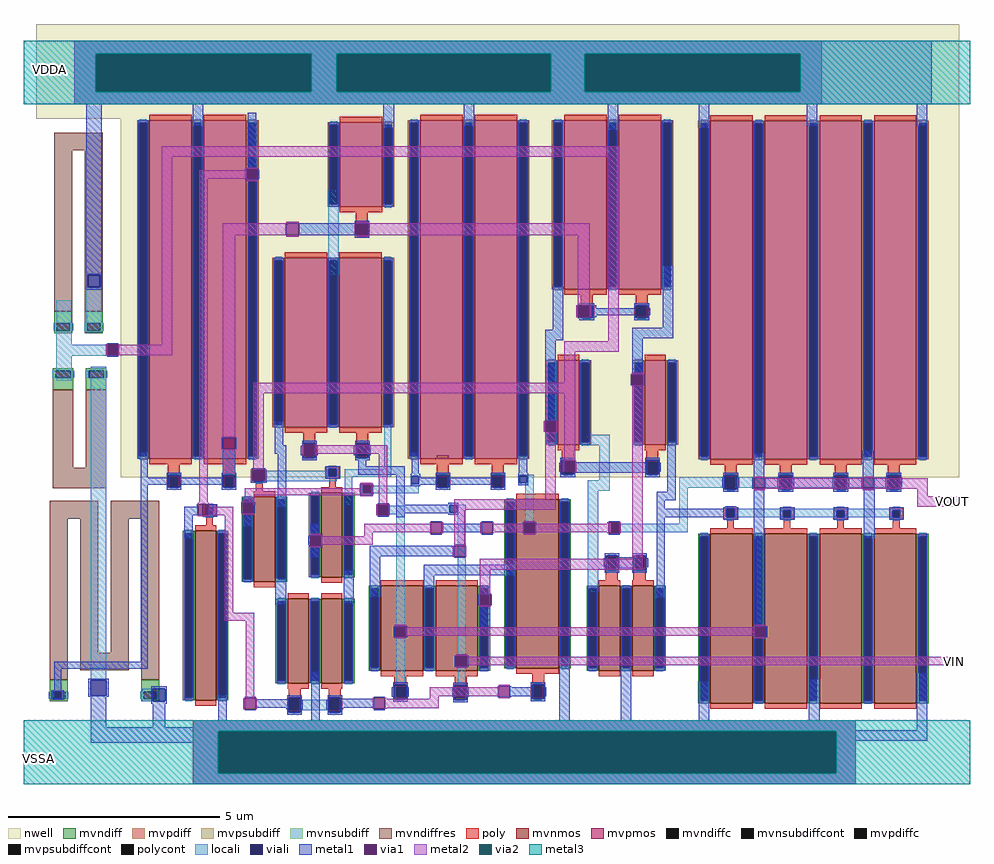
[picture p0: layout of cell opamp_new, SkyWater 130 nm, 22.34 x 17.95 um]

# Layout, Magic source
magic
tech sky130A
magscale 1 2
<< nwell >>
rect 331 1860 4690 2280
rect 331 1833 4130 1860
rect 730 1820 4130 1833
rect 730 1200 3431 1820
rect 730 320 3440 1200
rect 4440 320 4690 1860
rect 730 140 4690 320
<< mvpmos >>
rect 2470 226 2550 250
<< mvpsubdiff >>
rect 1070 -1060 4200 -1010
rect 1070 -1260 1190 -1060
rect 4110 -1260 4200 -1060
rect 1070 -1310 4200 -1260
<< mvnsubdiff >>
rect 510 2140 4040 2200
rect 510 1960 610 2140
rect 1630 1960 1750 2140
rect 2760 1960 2920 2140
rect 3940 1960 4040 2140
rect 510 1900 4040 1960
<< mvpsubdiffcont >>
rect 1190 -1260 4110 -1060
<< mvnsubdiffcont >>
rect 610 1960 1630 2140
rect 1750 1960 2760 2140
rect 2920 1960 3940 2140
<< poly >>
rect 1840 1339 1897 1413
rect 1834 1329 1903 1339
rect 1834 1292 1850 1329
rect 1887 1292 1903 1329
rect 1834 1282 1903 1292
rect 2902 949 2959 1000
rect 3162 949 3219 1000
rect 2896 939 2965 949
rect 2896 902 2912 939
rect 2949 902 2965 939
rect 2896 892 2965 902
rect 3156 939 3225 949
rect 3156 902 3172 939
rect 3209 902 3225 939
rect 3156 892 3225 902
rect 1592 299 1649 350
rect 1842 299 1899 350
rect 1586 289 1655 299
rect 1586 242 1602 289
rect 1639 242 1655 289
rect 1586 232 1655 242
rect 1836 289 1905 299
rect 1836 242 1852 289
rect 1889 242 1905 289
rect 1836 232 1905 242
rect 952 149 1009 200
rect 1212 149 1269 200
rect 1696 178 1762 188
rect 1350 158 1416 168
rect 946 139 1015 149
rect 946 102 962 139
rect 999 102 1015 139
rect 946 92 1015 102
rect 1206 139 1275 149
rect 1206 102 1222 139
rect 1259 102 1275 139
rect 1350 124 1366 158
rect 1400 124 1416 158
rect 1696 144 1712 178
rect 1746 144 1762 178
rect 2222 149 2279 242
rect 2470 200 2550 226
rect 2812 219 2869 270
rect 3212 219 3269 270
rect 2806 209 2875 219
rect 2482 149 2539 200
rect 2806 162 2822 209
rect 2859 162 2875 209
rect 2806 152 2875 162
rect 3206 209 3275 219
rect 3206 162 3222 209
rect 3259 162 3275 209
rect 3206 152 3275 162
rect 3582 149 3639 200
rect 3842 149 3899 200
rect 4102 149 4159 200
rect 4352 149 4409 200
rect 1696 134 1762 144
rect 2216 139 2285 149
rect 1350 114 1416 124
rect 1206 92 1275 102
rect 1367 72 1399 114
rect 1713 92 1745 134
rect 2216 102 2232 139
rect 2269 102 2285 139
rect 2216 92 2285 102
rect 2476 139 2545 149
rect 2476 102 2492 139
rect 2529 102 2545 139
rect 2476 92 2545 102
rect 3576 139 3645 149
rect 3576 92 3592 139
rect 3629 92 3645 139
rect 1694 87 1773 92
rect 3576 82 3645 92
rect 3836 139 3905 149
rect 3836 92 3852 139
rect 3889 92 3905 139
rect 3836 82 3905 92
rect 4096 139 4165 149
rect 4096 92 4112 139
rect 4149 92 4165 139
rect 4096 82 4165 92
rect 4346 139 4415 149
rect 4346 92 4362 139
rect 4399 92 4415 139
rect 4346 82 4415 92
rect 1115 -2 1181 8
rect 1115 -36 1131 -2
rect 1165 -36 1181 -2
rect 1115 -46 1181 -36
rect 3576 -16 3642 -6
rect 1132 -88 1164 -46
rect 3576 -50 3592 -16
rect 3626 -50 3642 -16
rect 3576 -60 3642 -50
rect 3843 -16 3909 -6
rect 3843 -50 3859 -16
rect 3893 -50 3909 -16
rect 3843 -60 3909 -50
rect 4096 -16 4162 -6
rect 4096 -50 4112 -16
rect 4146 -50 4162 -16
rect 4096 -60 4162 -50
rect 4359 -16 4425 -6
rect 4359 -50 4375 -16
rect 4409 -50 4425 -16
rect 4359 -60 4425 -50
rect 3593 -102 3625 -60
rect 3860 -102 3892 -60
rect 4113 -102 4145 -60
rect 4376 -102 4408 -60
rect 3015 -242 3084 -232
rect 3015 -289 3031 -242
rect 3068 -289 3084 -242
rect 3015 -299 3084 -289
rect 3145 -242 3214 -232
rect 3145 -289 3161 -242
rect 3198 -289 3214 -242
rect 3145 -299 3214 -289
rect 3021 -350 3078 -299
rect 3151 -350 3208 -299
rect 2022 -842 2079 -791
rect 2016 -852 2085 -842
rect 2306 -844 2363 -793
rect 2672 -841 2729 -790
rect 1522 -903 1579 -860
rect 1712 -903 1769 -860
rect 2016 -899 2032 -852
rect 2069 -899 2085 -852
rect 1516 -913 1585 -903
rect 1516 -960 1532 -913
rect 1569 -960 1585 -913
rect 1516 -970 1585 -960
rect 1706 -913 1775 -903
rect 2016 -909 2085 -899
rect 2300 -854 2369 -844
rect 2300 -901 2316 -854
rect 2353 -901 2369 -854
rect 2300 -911 2369 -901
rect 2666 -851 2735 -841
rect 2666 -898 2682 -851
rect 2719 -898 2735 -851
rect 2666 -908 2735 -898
rect 1706 -960 1722 -913
rect 1759 -960 1775 -913
rect 1706 -970 1775 -960
<< polycont >>
rect 1850 1292 1887 1329
rect 2912 902 2949 939
rect 3172 902 3209 939
rect 1602 242 1639 289
rect 1852 242 1889 289
rect 962 102 999 139
rect 1222 102 1259 139
rect 1366 124 1400 158
rect 1712 144 1746 178
rect 2822 162 2859 209
rect 3222 162 3259 209
rect 2232 102 2269 139
rect 2492 102 2529 139
rect 3592 92 3629 139
rect 3852 92 3889 139
rect 4112 92 4149 139
rect 4362 92 4399 139
rect 1131 -36 1165 -2
rect 3592 -50 3626 -16
rect 3859 -50 3893 -16
rect 4112 -50 4146 -16
rect 4375 -50 4409 -16
rect 3031 -289 3068 -242
rect 3161 -289 3198 -242
rect 2032 -899 2069 -852
rect 1532 -960 1569 -913
rect 2316 -901 2353 -854
rect 2682 -898 2719 -851
rect 1722 -960 1759 -913
<< locali >>
rect 510 2140 4040 2200
rect 510 1960 610 2140
rect 1630 1960 1750 2140
rect 2760 1960 2920 2140
rect 3940 1960 4040 2140
rect 510 1900 4040 1960
rect 567 1096 639 1102
rect 567 1036 573 1096
rect 633 1036 639 1096
rect 1710 1095 1760 1495
rect 1850 1339 1887 1345
rect 1850 1276 1887 1282
rect 424 764 497 975
rect 567 824 639 1036
rect 2912 949 2949 955
rect 3172 949 3209 955
rect 2912 886 2949 892
rect 3172 886 3209 892
rect 671 764 715 766
rect 424 761 715 764
rect 424 721 671 761
rect 709 721 715 761
rect 424 716 715 721
rect 424 714 711 716
rect 424 596 497 714
rect 588 -820 660 662
rect 1602 299 1639 305
rect 1852 299 1889 305
rect 1602 226 1639 232
rect 1852 226 1889 232
rect 1712 178 1746 194
rect 1366 170 1400 174
rect 962 149 999 155
rect 1222 149 1259 155
rect 1405 144 1712 170
rect 1974 176 2008 379
rect 2930 290 3040 340
rect 2822 219 2859 225
rect 1746 144 1750 170
rect 1405 120 1750 144
rect 1788 142 2008 176
rect 2232 149 2269 155
rect 2492 149 2529 155
rect 1366 108 1400 120
rect 962 86 999 92
rect 1222 86 1259 92
rect 1131 -2 1165 14
rect 1788 7 1822 142
rect 2104 98 2138 109
rect 1907 64 2138 98
rect 2610 147 2680 150
rect 2610 113 2613 147
rect 2647 113 2680 147
rect 2822 146 2859 152
rect 2990 125 3040 290
rect 3222 219 3259 225
rect 3222 146 3259 152
rect 3592 149 3629 155
rect 3852 149 3889 155
rect 4112 149 4149 155
rect 4362 149 4399 155
rect 2610 110 2680 113
rect 2232 86 2269 92
rect 2492 86 2529 92
rect 2280 7 2360 10
rect 1989 -35 2070 5
rect 2280 -27 2283 7
rect 2317 -27 2360 7
rect 2280 -30 2360 -27
rect 1131 -52 1165 -36
rect 448 -906 477 -872
rect 2030 -570 2070 -35
rect 2030 -842 2070 -610
rect 2320 -710 2360 -30
rect 2640 -80 2680 110
rect 2935 75 3040 125
rect 3367 90 3582 140
rect 2935 -245 2985 75
rect 3367 -80 3407 90
rect 3639 90 3842 140
rect 3899 90 4102 140
rect 4159 90 4352 140
rect 4409 90 4410 140
rect 3592 76 3629 82
rect 3852 76 3889 82
rect 4112 76 4149 82
rect 4362 76 4399 82
rect 3592 -10 3626 0
rect 3859 -10 3893 0
rect 4112 -10 4146 0
rect 4375 -10 4409 0
rect 3630 -16 4409 -10
rect 3630 -50 3859 -16
rect 3893 -50 4112 -16
rect 4146 -50 4375 -16
rect 3592 -66 3626 -50
rect 3859 -66 3893 -50
rect 4112 -66 4146 -50
rect 4375 -66 4409 -50
rect 3080 -120 3407 -80
rect 3031 -232 3068 -226
rect 3161 -232 3198 -226
rect 2935 -295 3021 -245
rect 2935 -405 2985 -295
rect 3031 -305 3068 -299
rect 3161 -305 3198 -299
rect 2320 -838 2360 -750
rect 2316 -844 2360 -838
rect 2682 -841 2719 -835
rect 830 -920 880 -860
rect 1532 -903 1569 -897
rect 1722 -903 1759 -897
rect 1579 -962 1712 -912
rect 2032 -915 2069 -909
rect 2316 -917 2353 -911
rect 2682 -914 2719 -908
rect 1532 -976 1569 -970
rect 1722 -976 1759 -970
rect 1070 -1060 4200 -1010
rect 1070 -1260 1190 -1060
rect 4110 -1260 4200 -1060
rect 1070 -1310 4200 -1260
<< viali >>
rect 610 1960 1630 2140
rect 1750 1960 2760 2140
rect 2920 1960 3940 2140
rect 573 1036 633 1096
rect 1840 1329 1897 1339
rect 1840 1292 1850 1329
rect 1850 1292 1887 1329
rect 1887 1292 1897 1329
rect 1840 1282 1897 1292
rect 2902 939 2959 949
rect 2902 902 2912 939
rect 2912 902 2949 939
rect 2949 902 2959 939
rect 2902 892 2959 902
rect 3162 939 3219 949
rect 3162 902 3172 939
rect 3172 902 3209 939
rect 3209 902 3219 939
rect 3162 892 3219 902
rect 671 721 709 761
rect 1592 289 1649 299
rect 1592 242 1602 289
rect 1602 242 1639 289
rect 1639 242 1649 289
rect 1592 232 1649 242
rect 1842 289 1899 299
rect 1842 242 1852 289
rect 1852 242 1889 289
rect 1889 242 1899 289
rect 1842 232 1899 242
rect 1355 158 1405 170
rect 952 139 1009 149
rect 952 102 962 139
rect 962 102 999 139
rect 999 102 1009 139
rect 952 92 1009 102
rect 1212 139 1269 149
rect 1212 102 1222 139
rect 1222 102 1259 139
rect 1259 102 1269 139
rect 1355 124 1366 158
rect 1366 124 1400 158
rect 1400 124 1405 158
rect 1712 144 1746 178
rect 1355 120 1405 124
rect 2812 209 2869 219
rect 2812 162 2822 209
rect 2822 162 2859 209
rect 2859 162 2869 209
rect 2812 152 2869 162
rect 1212 92 1269 102
rect 2104 109 2138 143
rect 1873 64 1907 98
rect 2222 139 2279 149
rect 2222 102 2232 139
rect 2232 102 2269 139
rect 2269 102 2279 139
rect 2222 92 2279 102
rect 2482 139 2539 149
rect 2482 102 2492 139
rect 2492 102 2529 139
rect 2529 102 2539 139
rect 2613 113 2647 147
rect 3212 209 3269 219
rect 3212 162 3222 209
rect 3222 162 3259 209
rect 3259 162 3269 209
rect 3212 152 3269 162
rect 2482 92 2539 102
rect 1131 -36 1165 -2
rect 1949 -35 1989 5
rect 2283 -27 2317 7
rect 414 -906 448 -872
rect 588 -892 660 -820
rect 2030 -610 2070 -570
rect 2640 -120 2680 -80
rect 3582 139 3639 149
rect 3582 92 3592 139
rect 3592 92 3629 139
rect 3629 92 3639 139
rect 3582 82 3639 92
rect 3842 139 3899 149
rect 3842 92 3852 139
rect 3852 92 3889 139
rect 3889 92 3899 139
rect 3842 82 3899 92
rect 4102 139 4159 149
rect 4102 92 4112 139
rect 4112 92 4149 139
rect 4149 92 4159 139
rect 4102 82 4159 92
rect 4352 139 4409 149
rect 4352 92 4362 139
rect 4362 92 4399 139
rect 4399 92 4409 139
rect 4352 82 4409 92
rect 3590 -16 3630 -10
rect 3590 -50 3592 -16
rect 3592 -50 3626 -16
rect 3626 -50 3630 -16
rect 3859 -50 3893 -16
rect 4112 -50 4146 -16
rect 4375 -50 4409 -16
rect 3046 -120 3080 -80
rect 3021 -242 3078 -232
rect 3021 -289 3031 -242
rect 3031 -289 3068 -242
rect 3068 -289 3078 -242
rect 3021 -299 3078 -289
rect 3151 -242 3208 -232
rect 3151 -289 3161 -242
rect 3161 -289 3198 -242
rect 3198 -289 3208 -242
rect 3151 -299 3208 -289
rect 2320 -750 2360 -710
rect 2022 -852 2079 -842
rect 880 -920 940 -860
rect 2022 -899 2032 -852
rect 2032 -899 2069 -852
rect 2069 -899 2079 -852
rect 1522 -913 1579 -903
rect 1522 -960 1532 -913
rect 1532 -960 1569 -913
rect 1569 -960 1579 -913
rect 1522 -970 1579 -960
rect 1712 -913 1769 -903
rect 2022 -909 2079 -899
rect 2306 -854 2363 -844
rect 2306 -901 2316 -854
rect 2316 -901 2353 -854
rect 2353 -901 2363 -854
rect 1712 -960 1722 -913
rect 1722 -960 1759 -913
rect 1759 -960 1769 -913
rect 2306 -911 2363 -901
rect 2672 -851 2729 -841
rect 2672 -898 2682 -851
rect 2682 -898 2719 -851
rect 2719 -898 2729 -851
rect 2672 -908 2729 -898
rect 1712 -970 1769 -960
rect 1190 -1260 4110 -1060
<< metal1 >>
rect 510 2140 4560 2200
rect 510 1960 610 2140
rect 1630 1960 1750 2140
rect 2760 1960 2920 2140
rect 3940 1960 4560 2140
rect 510 1900 4560 1960
rect 567 1096 639 1900
rect 1070 1800 1120 1900
rect 1330 1596 1370 1860
rect 1970 1790 2020 1900
rect 2350 1800 2400 1900
rect 3030 1780 3080 1900
rect 3460 1790 3510 1900
rect 3970 1800 4020 1900
rect 4490 1800 4540 1900
rect 1318 1544 1324 1596
rect 1376 1590 1382 1596
rect 1376 1550 1383 1590
rect 1376 1544 1382 1550
rect 1834 1339 1903 1351
rect 1506 1282 1512 1339
rect 1569 1282 1840 1339
rect 1900 1282 1906 1339
rect 1834 1270 1903 1282
rect 567 1036 573 1096
rect 633 1036 639 1096
rect 567 1024 639 1036
rect 2770 835 2820 1040
rect 2896 958 2965 961
rect 2888 952 2965 958
rect 2945 949 2976 952
rect 2959 937 2976 949
rect 3156 949 3225 961
rect 3156 937 3162 949
rect 2959 904 3162 937
rect 2959 895 2976 904
rect 2888 892 2902 895
rect 2959 892 2965 895
rect 2888 889 2965 892
rect 2896 880 2965 889
rect 3156 892 3162 904
rect 3219 937 3225 949
rect 3219 904 3230 937
rect 3219 892 3225 904
rect 3156 880 3225 892
rect 3290 845 3340 1135
rect 2735 785 2820 835
rect 3145 795 3340 845
rect 665 767 717 773
rect 659 715 665 767
rect 717 715 721 767
rect 665 709 717 715
rect 2735 412 2785 785
rect 3145 626 3195 795
rect 3138 574 3144 626
rect 3196 574 3202 626
rect 2734 406 2786 412
rect 1206 272 1212 329
rect 1269 272 1275 329
rect 1457 290 1497 400
rect 2734 348 2786 354
rect 1586 299 1655 311
rect 824 137 857 256
rect 1212 161 1269 272
rect 1457 250 1510 290
rect 1586 287 1592 299
rect 1349 176 1411 182
rect 946 149 1015 161
rect 946 137 952 149
rect 824 104 952 137
rect 824 -733 857 104
rect 946 92 952 104
rect 1009 137 1015 149
rect 1206 149 1275 161
rect 1206 137 1212 149
rect 1009 104 1212 137
rect 1009 92 1015 104
rect 946 80 1015 92
rect 1206 92 1212 104
rect 1269 92 1275 149
rect 1343 124 1349 176
rect 1411 171 1417 176
rect 1411 124 1420 171
rect 1343 120 1355 124
rect 1405 120 1420 124
rect 1343 114 1420 120
rect 1351 113 1420 114
rect 1360 112 1406 113
rect 1206 80 1275 92
rect 1088 0 1094 12
rect 1030 -40 1094 0
rect 1146 11 1152 12
rect 1146 -2 1185 11
rect 1165 -36 1185 -2
rect 1299 -31 1305 21
rect 1357 -31 1363 21
rect 1470 0 1510 250
rect 1580 244 1592 287
rect 1649 287 1655 299
rect 1836 299 1905 311
rect 1836 287 1842 299
rect 1649 244 1660 287
rect 1830 244 1842 287
rect 1586 232 1592 244
rect 1649 232 1655 244
rect 1586 220 1655 232
rect 1836 232 1842 244
rect 1899 287 1905 299
rect 1899 244 1910 287
rect 1899 232 1905 244
rect 1836 220 1905 232
rect 1697 178 1766 191
rect 1697 144 1712 178
rect 1746 144 1766 178
rect 1850 190 1890 220
rect 1850 150 2070 190
rect 2104 155 2137 256
rect 1697 133 1766 144
rect 1706 132 1752 133
rect 1867 107 1913 110
rect 1858 55 1864 107
rect 1916 55 1922 107
rect 1867 52 1913 55
rect 1943 11 1995 17
rect 1146 -40 1185 -36
rect 1030 -150 1070 -40
rect 1116 -47 1185 -40
rect 1125 -48 1171 -47
rect 1314 -92 1348 -31
rect 1937 -41 1943 11
rect 1995 -41 2001 11
rect 2030 10 2070 150
rect 2098 143 2144 155
rect 2098 109 2104 143
rect 2138 137 2144 143
rect 2216 149 2285 161
rect 2216 137 2222 149
rect 2138 109 2222 137
rect 2098 104 2222 109
rect 2098 97 2144 104
rect 2216 92 2222 104
rect 2279 137 2285 149
rect 2476 149 2545 161
rect 2610 159 2650 240
rect 2806 222 2875 231
rect 2806 219 2876 222
rect 2806 207 2812 219
rect 2869 216 2876 219
rect 2800 164 2812 207
rect 3206 219 3275 231
rect 3206 210 3212 219
rect 2876 164 3212 210
rect 2476 137 2482 149
rect 2279 104 2482 137
rect 2279 92 2285 104
rect 2216 80 2285 92
rect 2476 92 2482 104
rect 2539 92 2545 149
rect 2607 147 2653 159
rect 2607 113 2613 147
rect 2647 113 2653 147
rect 2806 152 2812 164
rect 2869 160 3212 164
rect 2869 158 2876 160
rect 2869 152 2875 158
rect 2806 140 2875 152
rect 3206 152 3212 160
rect 3269 207 3275 219
rect 3269 164 3280 207
rect 3269 152 3275 164
rect 3206 140 3275 152
rect 2607 101 2653 113
rect 2476 80 2545 92
rect 3310 70 3350 310
rect 3576 149 3645 161
rect 3576 137 3582 149
rect 3570 94 3582 137
rect 3576 82 3582 94
rect 3639 137 3645 149
rect 3639 94 3650 137
rect 3720 136 3770 250
rect 3836 149 3905 161
rect 3836 137 3842 149
rect 3639 82 3645 94
rect 3713 84 3719 136
rect 3771 84 3777 136
rect 3830 94 3842 137
rect 3576 70 3645 82
rect 3260 30 3350 70
rect 2277 10 2323 19
rect 2030 7 2323 10
rect 2030 -27 2283 7
rect 2317 -27 2323 7
rect 2030 -30 2323 -27
rect 1943 -47 1995 -41
rect 2030 -51 2070 -30
rect 2277 -39 2323 -30
rect 3260 -10 3300 30
rect 3584 -3 3636 2
rect 3577 -10 3646 -3
rect 3260 -50 3590 -10
rect 3630 -50 3646 -10
rect 2194 -74 2246 -68
rect 1630 -134 1670 -80
rect 2434 -74 2486 -68
rect 2634 -74 2686 -68
rect 3034 -74 3086 -68
rect 2246 -120 2434 -80
rect 2194 -132 2246 -126
rect 2628 -126 2634 -74
rect 2686 -126 2692 -74
rect 3086 -126 3092 -74
rect 2434 -132 2486 -126
rect 2634 -132 2686 -126
rect 3034 -132 3086 -126
rect 1618 -140 1624 -134
rect 1616 -180 1624 -140
rect 1618 -186 1624 -180
rect 1676 -186 1682 -134
rect 2304 -184 2356 -178
rect 1630 -240 1670 -186
rect 1905 -235 2304 -185
rect 1460 -460 1510 -340
rect 1782 -456 1830 -300
rect 1905 -425 1955 -235
rect 2304 -242 2356 -236
rect 3015 -232 3084 -220
rect 3015 -244 3021 -232
rect 2160 -325 2585 -275
rect 3010 -287 3021 -244
rect 3015 -299 3021 -287
rect 3078 -240 3084 -232
rect 3145 -232 3214 -220
rect 3145 -240 3151 -232
rect 3078 -290 3151 -240
rect 3078 -299 3084 -290
rect 3015 -311 3084 -299
rect 3145 -299 3151 -290
rect 3208 -244 3214 -232
rect 3208 -287 3220 -244
rect 3208 -299 3214 -287
rect 3145 -311 3214 -299
rect 2160 -380 2210 -325
rect 2418 -466 2424 -414
rect 2476 -466 2482 -414
rect 3260 -430 3300 -50
rect 3577 -61 3646 -50
rect 3584 -62 3636 -61
rect 3720 -150 3770 84
rect 3836 82 3842 94
rect 3899 137 3905 149
rect 4096 149 4165 161
rect 4096 137 4102 149
rect 3899 94 3910 137
rect 4090 94 4102 137
rect 3899 82 3905 94
rect 3836 70 3905 82
rect 4096 82 4102 94
rect 4159 137 4165 149
rect 4159 94 4170 137
rect 4235 136 4285 265
rect 4346 149 4415 161
rect 4346 137 4352 149
rect 4159 82 4165 94
rect 4228 84 4234 136
rect 4286 84 4292 136
rect 4340 94 4352 137
rect 4096 70 4165 82
rect 3844 -16 3913 -3
rect 3844 -50 3859 -16
rect 3893 -50 3913 -16
rect 3844 -61 3913 -50
rect 4097 -16 4166 -3
rect 4097 -50 4112 -16
rect 4146 -50 4166 -16
rect 4097 -61 4166 -50
rect 3853 -62 3899 -61
rect 4106 -62 4152 -61
rect 4240 -150 4290 84
rect 4346 82 4352 94
rect 4409 137 4415 149
rect 4409 94 4420 137
rect 4409 82 4415 94
rect 4346 70 4415 82
rect 4360 -16 4429 -3
rect 4360 -50 4375 -16
rect 4409 -50 4429 -16
rect 4360 -61 4429 -50
rect 4369 -62 4415 -61
rect 2024 -564 2076 -558
rect 2018 -616 2024 -564
rect 2076 -616 2082 -564
rect 2425 -575 2475 -466
rect 3730 -564 3770 -150
rect 3718 -616 3724 -564
rect 3776 -616 3782 -564
rect 2024 -622 2076 -616
rect 2314 -704 2366 -698
rect 414 -766 857 -733
rect 2308 -756 2314 -704
rect 2366 -756 2372 -704
rect 2314 -762 2366 -756
rect 414 -866 447 -766
rect 576 -820 672 -814
rect 402 -872 460 -866
rect 402 -906 414 -872
rect 448 -906 460 -872
rect 576 -892 588 -820
rect 660 -892 672 -820
rect 576 -898 672 -892
rect 874 -860 946 -848
rect 402 -912 460 -906
rect 588 -1043 660 -898
rect 874 -920 880 -860
rect 940 -920 946 -860
rect 874 -932 946 -920
rect 880 -1043 940 -932
rect 1190 -1010 1230 -890
rect 1314 -904 1366 -898
rect 1516 -903 1585 -891
rect 1516 -910 1522 -903
rect 1366 -950 1522 -910
rect 1314 -962 1366 -956
rect 1510 -958 1522 -950
rect 1516 -970 1522 -958
rect 1579 -915 1585 -903
rect 1579 -958 1590 -915
rect 1579 -970 1585 -958
rect 1516 -982 1585 -970
rect 1630 -1010 1670 -780
rect 2016 -842 2085 -830
rect 2016 -854 2022 -842
rect 1706 -903 1775 -891
rect 2010 -897 2022 -854
rect 1706 -915 1712 -903
rect 1700 -958 1712 -915
rect 1706 -970 1712 -958
rect 1769 -907 1775 -903
rect 1925 -903 1977 -897
rect 1769 -950 1925 -907
rect 1769 -958 1780 -950
rect 2016 -909 2022 -897
rect 2079 -854 2085 -842
rect 2300 -844 2369 -832
rect 2079 -897 2090 -854
rect 2300 -856 2306 -844
rect 2079 -909 2085 -897
rect 2294 -899 2306 -856
rect 2016 -921 2085 -909
rect 2300 -911 2306 -899
rect 2363 -856 2369 -844
rect 2666 -841 2735 -829
rect 2363 -899 2374 -856
rect 2363 -911 2369 -899
rect 2509 -900 2515 -848
rect 2567 -853 2573 -848
rect 2666 -853 2672 -841
rect 2567 -896 2672 -853
rect 2567 -900 2573 -896
rect 2300 -923 2369 -911
rect 2666 -908 2672 -896
rect 2729 -853 2735 -841
rect 2729 -896 2740 -853
rect 2729 -908 2735 -896
rect 2666 -920 2735 -908
rect 1769 -970 1775 -958
rect 1925 -961 1977 -955
rect 1706 -982 1775 -970
rect 2800 -1010 2850 -715
rect 3090 -1010 3140 -760
rect 3460 -1010 3510 -826
rect 3980 -1010 4030 -816
rect 1070 -1043 4200 -1010
rect 588 -1055 4200 -1043
rect 4490 -1055 4540 -786
rect 588 -1060 4540 -1055
rect 588 -1115 1190 -1060
rect 1070 -1260 1190 -1115
rect 4110 -1105 4540 -1060
rect 4110 -1260 4200 -1105
rect 1070 -1310 4200 -1260
<< via1 >>
rect 610 1960 1630 2140
rect 1750 1960 2760 2140
rect 2920 1960 3940 2140
rect 1324 1544 1376 1596
rect 1512 1282 1569 1339
rect 1843 1282 1897 1339
rect 1897 1282 1900 1339
rect 2888 949 2945 952
rect 2888 895 2902 949
rect 2902 895 2945 949
rect 665 761 717 767
rect 665 721 671 761
rect 671 721 709 761
rect 709 721 717 761
rect 665 715 717 721
rect 3144 574 3196 626
rect 1212 272 1269 329
rect 2734 354 2786 406
rect 1349 170 1411 176
rect 1349 124 1355 170
rect 1355 124 1405 170
rect 1405 124 1411 170
rect 1094 -2 1146 12
rect 1094 -36 1131 -2
rect 1131 -36 1146 -2
rect 1305 -31 1357 21
rect 1594 244 1646 296
rect 1864 98 1916 107
rect 1864 64 1873 98
rect 1873 64 1907 98
rect 1907 64 1916 98
rect 1864 55 1916 64
rect 1094 -40 1146 -36
rect 1943 5 1995 11
rect 1943 -35 1949 5
rect 1949 -35 1989 5
rect 1989 -35 1995 5
rect 1943 -41 1995 -35
rect 2824 164 2869 216
rect 2869 164 2876 216
rect 3719 84 3771 136
rect 2194 -126 2246 -74
rect 2434 -126 2486 -74
rect 2634 -80 2686 -74
rect 2634 -120 2640 -80
rect 2640 -120 2680 -80
rect 2680 -120 2686 -80
rect 2634 -126 2686 -120
rect 3034 -80 3086 -74
rect 3034 -120 3046 -80
rect 3046 -120 3080 -80
rect 3080 -120 3086 -80
rect 3034 -126 3086 -120
rect 1624 -186 1676 -134
rect 2304 -236 2356 -184
rect 2424 -466 2476 -414
rect 4234 84 4286 136
rect 2024 -570 2076 -564
rect 2024 -610 2030 -570
rect 2030 -610 2070 -570
rect 2070 -610 2076 -570
rect 2024 -616 2076 -610
rect 3724 -616 3776 -564
rect 2314 -710 2366 -704
rect 2314 -750 2320 -710
rect 2320 -750 2360 -710
rect 2360 -750 2366 -710
rect 2314 -756 2366 -750
rect 1314 -956 1366 -904
rect 1925 -955 1977 -903
rect 2515 -900 2567 -848
rect 1190 -1260 4110 -1060
<< metal2 >>
rect 510 2140 4040 2200
rect 510 1960 610 2140
rect 1630 1960 1750 2140
rect 2760 1960 2920 2140
rect 3940 1960 4040 2140
rect 510 1900 4040 1960
rect 923 1652 3081 1702
rect 659 715 665 767
rect 717 766 723 767
rect 923 766 973 1652
rect 1324 1596 1376 1602
rect 717 716 973 766
rect 1100 1550 1324 1590
rect 717 715 723 716
rect 1100 18 1140 1550
rect 1324 1538 1376 1544
rect 1512 1339 1569 1345
rect 1212 1282 1512 1339
rect 1212 329 1269 1282
rect 1512 1276 1569 1282
rect 1843 1339 1900 1345
rect 1900 1282 2945 1339
rect 1843 1276 1900 1282
rect 2888 952 2945 1282
rect 2882 895 2888 952
rect 2945 895 2951 952
rect 3031 782 3081 1652
rect 2825 732 3081 782
rect 2825 585 2875 732
rect 1212 266 1269 272
rect 1355 535 2875 585
rect 3144 626 3196 632
rect 3144 568 3196 574
rect 1355 176 1405 535
rect 2728 354 2734 406
rect 2786 354 2792 406
rect 1588 244 1594 296
rect 1646 290 1652 296
rect 1646 250 1988 290
rect 1646 244 1652 250
rect 1343 124 1349 176
rect 1411 124 1417 176
rect 1864 110 1916 113
rect 1860 107 1920 110
rect 1860 88 1864 107
rect 1314 55 1864 88
rect 1916 55 1920 107
rect 1314 54 1920 55
rect 1314 27 1360 54
rect 1860 50 1920 54
rect 1864 49 1916 50
rect 1305 21 1360 27
rect 1094 12 1146 18
rect 1146 -40 1260 0
rect 1357 10 1360 21
rect 1948 11 1988 250
rect 2735 35 2785 354
rect 2825 216 2875 535
rect 2818 164 2824 216
rect 2876 164 2882 216
rect 1305 -37 1357 -31
rect 1094 -46 1146 -40
rect 1220 -500 1260 -40
rect 1937 -41 1943 11
rect 1995 -41 2001 11
rect 2305 -15 2785 35
rect 2188 -80 2194 -74
rect 1880 -120 2194 -80
rect 1624 -134 1676 -128
rect 1880 -140 1920 -120
rect 2188 -126 2194 -120
rect 2246 -126 2252 -74
rect 1676 -180 1920 -140
rect 2305 -184 2355 -15
rect 2634 -74 2686 -68
rect 2428 -126 2434 -74
rect 2486 -80 2492 -74
rect 2486 -120 2634 -80
rect 2486 -126 2492 -120
rect 3028 -80 3034 -74
rect 2686 -120 3034 -80
rect 3028 -126 3034 -120
rect 3086 -126 3092 -74
rect 2634 -132 2686 -126
rect 1624 -192 1676 -186
rect 2298 -236 2304 -184
rect 2356 -236 2362 -184
rect 3145 -247 3195 568
rect 3719 136 3771 142
rect 4234 136 4286 142
rect 3771 85 4234 135
rect 3719 78 3771 84
rect 4286 85 4541 135
rect 4234 78 4286 84
rect 4491 49 4541 85
rect 4491 -1 4689 49
rect 2425 -297 3195 -247
rect 2425 -408 2475 -297
rect 2424 -414 2476 -408
rect 2424 -472 2476 -466
rect 1220 -540 1360 -500
rect 1320 -904 1360 -540
rect 2024 -564 2076 -558
rect 3724 -564 3776 -558
rect 2076 -610 3724 -570
rect 2024 -622 2076 -616
rect 3724 -622 3776 -616
rect 2314 -704 2366 -698
rect 2366 -750 4696 -710
rect 2314 -762 2366 -756
rect 2515 -848 2567 -842
rect 2189 -895 2515 -852
rect 1308 -956 1314 -904
rect 1366 -956 1372 -904
rect 1919 -955 1925 -903
rect 1977 -908 1983 -903
rect 2189 -908 2232 -895
rect 2515 -906 2567 -900
rect 1977 -951 2232 -908
rect 1977 -955 1983 -951
rect 1070 -1060 4200 -1010
rect 1070 -1260 1190 -1060
rect 4110 -1260 4200 -1060
rect 1070 -1310 4200 -1260
<< via2 >>
rect 610 1960 1630 2140
rect 1750 1960 2760 2140
rect 2920 1960 3940 2140
rect 1190 -1260 4110 -1060
<< metal3 >>
rect 272 2140 4741 2200
rect 272 1960 610 2140
rect 1630 1960 1750 2140
rect 2760 1960 2920 2140
rect 3940 1960 4741 2140
rect 272 1900 4741 1960
rect 272 -1060 4741 -1010
rect 272 -1260 1190 -1060
rect 4110 -1260 4741 -1060
rect 272 -1310 4741 -1260
use sky130_fd_pr__nfet_g5v0d10v5_4DV7XU  sky130_fd_pr__nfet_g5v0d10v5_4DV7XU_0
transform 1 0 4001 0 1 -528
box -545 -426 545 426
use sky130_fd_pr__nfet_g5v0d10v5_GEEYVT  sky130_fd_pr__nfet_g5v0d10v5_GEEYVT_0
transform 1 0 2187 0 1 -574
box -287 -226 287 226
use sky130_fd_pr__nfet_g5v0d10v5_N5C7ZL  sky130_fd_pr__nfet_g5v0d10v5_N5C7ZL_0
transform 1 0 1647 0 1 -634
box -187 -226 187 226
use sky130_fd_pr__nfet_g5v0d10v5_N5C7ZL  sky130_fd_pr__nfet_g5v0d10v5_N5C7ZL_1
transform 1 0 3117 0 1 -574
box -187 -226 187 226
use sky130_fd_pr__nfet_g5v0d10v5_NY97Z6  sky130_fd_pr__nfet_g5v0d10v5_NY97Z6_0
transform 1 0 1726 0 1 -134
box -108 -226 108 226
use sky130_fd_pr__nfet_g5v0d10v5_NY97Z6  sky130_fd_pr__nfet_g5v0d10v5_NY97Z6_1
transform 1 0 1408 0 1 -154
box -108 -226 108 226
use sky130_fd_pr__nfet_g5v0d10v5_TNBBPH  sky130_fd_pr__nfet_g5v0d10v5_TNBBPH_0
transform 1 0 1130 0 1 -514
box -108 -426 108 426
use sky130_fd_pr__nfet_g5v0d10v5_UEV7X2  sky130_fd_pr__nfet_g5v0d10v5_UEV7X2_0
transform 1 0 2698 0 1 -364
box -158 -426 158 426
use sky130_fd_pr__pfet_g5v0d10v5_5HRSW2  sky130_fd_pr__pfet_g5v0d10v5_5HRSW2_0
transform 1 0 1864 0 1 1616
box -224 -266 224 266
use sky130_fd_pr__pfet_g5v0d10v5_BHVYLS  sky130_fd_pr__pfet_g5v0d10v5_BHVYLS_0
transform 1 0 3053 0 1 1426
box -353 -466 353 466
use sky130_fd_pr__pfet_g5v0d10v5_BHVYLS  sky130_fd_pr__pfet_g5v0d10v5_BHVYLS_1
transform 1 0 1733 0 1 776
box -353 -466 353 466
use sky130_fd_pr__pfet_g5v0d10v5_EH58LG  sky130_fd_pr__pfet_g5v0d10v5_EH58LG_0
transform 1 0 4001 0 1 1024
box -611 -866 611 866
use sky130_fd_pr__pfet_g5v0d10v5_EHVYLG  sky130_fd_pr__pfet_g5v0d10v5_EHVYLG_0
transform 1 0 1093 0 1 1026
box -353 -866 353 866
use sky130_fd_pr__pfet_g5v0d10v5_EHVYLG  sky130_fd_pr__pfet_g5v0d10v5_EHVYLG_1
transform 1 0 2373 0 1 1026
box -353 -866 353 866
use sky130_fd_pr__pfet_g5v0d10v5_SVVZZ7  sky130_fd_pr__pfet_g5v0d10v5_SVVZZ7_0
transform 1 0 3254 0 1 492
box -174 -266 174 266
use sky130_fd_pr__pfet_g5v0d10v5_SVVZZ7  sky130_fd_pr__pfet_g5v0d10v5_SVVZZ7_1
transform 1 0 2844 0 1 492
box -174 -266 174 266
use sky130_fd_pr__res_generic_nd__hv_CGSFZ8  sky130_fd_pr__res_generic_nd__hv_CGSFZ8_0
transform -1 0 535 0 -1 372
box -130 -283 130 284
use sky130_fd_pr__res_generic_nd__hv_FHMM3Y  sky130_fd_pr__res_generic_nd__hv_FHMM3Y_0
transform 1 0 530 0 1 1293
box -118 -473 118 474
use sky130_fd_pr__res_generic_nd__hv_FMMP3Y  sky130_fd_pr__res_generic_nd__hv_FMMP3Y_0
transform 1 0 652 0 1 -447
box -262 -473 262 474
<< labels >>
flabel metal3 s 340 -1190 340 -1190 0 FreeSans 640 0 0 0 VSSA
flabel metal2 s 4668 -732 4668 -732 0 FreeSans 800 0 0 0 VIN
flabel metal2 s 4660 26 4660 26 0 FreeSans 800 0 0 0 VOUT
flabel metal3 s 391 2063 391 2063 0 FreeSans 640 0 0 0 VDDA
<< end >>

# cell sky130_fd_pr__nfet_g5v0d10v5_4DV7XU: kit device sky130_fd_pr__nfet_g5v0d10v5, w 4 l 1 m 1 nf 4 diffcov 100 polycov 100 guard 0 glc 1 grc 1 gtc 1 gbc 1 tbcov 100 rlcov 100 topc 0 botc 0 poverlap 0 doverlap 1 lmin 0.50 wmin 0.42 compatible {sky130_fd_pr__nfet_01v8 sky130_fd_pr__nfet_01v8_lvt sky130_fd_bs_flash__special_sonosfet_star sky130_fd_pr__nfet_g5v0d10v5 sky130_fd_pr__nfet_05v0_nvt sky130_fd_pr__nfet_03v3_nvt} full_metal 1 viasrc 100 viadrn 100 viagate 100 viagb 0 viagr 0 viagl 0 viagt 0

# cell sky130_fd_pr__nfet_g5v0d10v5_GEEYVT: kit device sky130_fd_pr__nfet_g5v0d10v5, w 2 l 1 m 1 nf 2 diffcov 100 polycov 100 guard 0 glc 1 grc 1 gtc 1 gbc 1 tbcov 100 rlcov 100 topc 0 botc 0 poverlap 0 doverlap 1 lmin 0.50 wmin 0.42 compatible {sky130_fd_pr__nfet_01v8 sky130_fd_pr__nfet_01v8_lvt sky130_fd_bs_flash__special_sonosfet_star sky130_fd_pr__nfet_g5v0d10v5 sky130_fd_pr__nfet_05v0_nvt sky130_fd_pr__nfet_03v3_nvt} full_metal 0 viasrc 100 viadrn 100 viagate 100 viagb 0 viagr 0 viagl 0 viagt 0

# cell sky130_fd_pr__nfet_g5v0d10v5_N5C7ZL: kit device sky130_fd_pr__nfet_g5v0d10v5, w 2 l 0.5 m 1 nf 2 diffcov 100 polycov 100 guard 0 glc 1 grc 1 gtc 1 gbc 1 tbcov 100 rlcov 100 topc 0 botc 0 poverlap 0 doverlap 1 lmin 0.50 wmin 0.42 compatible {sky130_fd_pr__nfet_01v8 sky130_fd_pr__nfet_01v8_lvt sky130_fd_bs_flash__special_sonosfet_star sky130_fd_pr__nfet_g5v0d10v5 sky130_fd_pr__nfet_05v0_nvt sky130_fd_pr__nfet_03v3_nvt} full_metal 1 viasrc 100 viadrn 100 viagate 100 viagb 0 viagr 0 viagl 0 viagt 0

# cell sky130_fd_pr__nfet_g5v0d10v5_NY97Z6: kit device sky130_fd_pr__nfet_g5v0d10v5, w 2 l 0.5 m 1 nf 1 diffcov 100 polycov 100 guard 0 glc 1 grc 1 gtc 1 gbc 1 tbcov 100 rlcov 100 topc 0 botc 0 poverlap 0 doverlap 1 lmin 0.50 wmin 0.42 compatible {sky130_fd_pr__nfet_01v8 sky130_fd_pr__nfet_01v8_lvt sky130_fd_bs_flash__special_sonosfet_star sky130_fd_pr__nfet_g5v0d10v5 sky130_fd_pr__nfet_05v0_nvt sky130_fd_pr__nfet_03v3_nvt} full_metal 1 viasrc 100 viadrn 100 viagate 100 viagb 0 viagr 0 viagl 0 viagt 0

# cell sky130_fd_pr__nfet_g5v0d10v5_TNBBPH: kit device sky130_fd_pr__nfet_g5v0d10v5, w 4 l 0.5 m 1 nf 1 diffcov 100 polycov 100 guard 0 glc 1 grc 1 gtc 1 gbc 1 tbcov 100 rlcov 100 topc 0 botc 0 poverlap 0 doverlap 1 lmin 0.50 wmin 0.42 compatible {sky130_fd_pr__nfet_01v8 sky130_fd_pr__nfet_01v8_lvt sky130_fd_bs_flash__special_sonosfet_star sky130_fd_pr__nfet_g5v0d10v5 sky130_fd_pr__nfet_05v0_nvt sky130_fd_pr__nfet_03v3_nvt} full_metal 1 viasrc 100 viadrn 100 viagate 100 viagb 0 viagr 0 viagl 0 viagt 0

# cell sky130_fd_pr__nfet_g5v0d10v5_UEV7X2: kit device sky130_fd_pr__nfet_g5v0d10v5, w 4 l 1 m 1 nf 1 diffcov 100 polycov 100 guard 0 glc 1 grc 1 gtc 1 gbc 1 tbcov 100 rlcov 100 topc 0 botc 0 poverlap 0 doverlap 1 lmin 0.50 wmin 0.42 compatible {sky130_fd_pr__nfet_01v8 sky130_fd_pr__nfet_01v8_lvt sky130_fd_bs_flash__special_sonosfet_star sky130_fd_pr__nfet_g5v0d10v5 sky130_fd_pr__nfet_05v0_nvt sky130_fd_pr__nfet_03v3_nvt} full_metal 1 viasrc 100 viadrn 100 viagate 100 viagb 0 viagr 0 viagl 0 viagt 0

# cell sky130_fd_pr__pfet_g5v0d10v5_5HRSW2: kit device sky130_fd_pr__pfet_g5v0d10v5, w 2 l 1 m 1 nf 1 diffcov 100 polycov 100 guard 0 glc 1 grc 1 gtc 1 gbc 1 tbcov 100 rlcov 100 topc 0 botc 0 poverlap 0 doverlap 1 lmin 0.50 wmin 0.42 compatible {sky130_fd_pr__pfet_01v8 sky130_fd_pr__pfet_01v8_lvt sky130_fd_pr__pfet_01v8_hvt sky130_fd_pr__pfet_g5v0d10v5} full_metal 1 viasrc 100 viadrn 100 viagate 100 viagb 0 viagr 0 viagl 0 viagt 0

# cell sky130_fd_pr__pfet_g5v0d10v5_BHVYLS: kit device sky130_fd_pr__pfet_g5v0d10v5, w 4 l 1 m 1 nf 2 diffcov 100 polycov 100 guard 0 glc 1 grc 1 gtc 1 gbc 1 tbcov 100 rlcov 100 topc 0 botc 0 poverlap 0 doverlap 1 lmin 0.50 wmin 0.42 compatible {sky130_fd_pr__pfet_01v8 sky130_fd_pr__pfet_01v8_lvt sky130_fd_pr__pfet_01v8_hvt sky130_fd_pr__pfet_g5v0d10v5} full_metal 1 viasrc 100 viadrn 100 viagate 100 viagb 0 viagr 0 viagl 0 viagt 0

# cell sky130_fd_pr__pfet_g5v0d10v5_EH58LG: kit device sky130_fd_pr__pfet_g5v0d10v5, w 8 l 1 m 1 nf 4 diffcov 100 polycov 100 guard 0 glc 1 grc 1 gtc 1 gbc 1 tbcov 100 rlcov 100 topc 0 botc 0 poverlap 0 doverlap 1 lmin 0.50 wmin 0.42 compatible {sky130_fd_pr__pfet_01v8 sky130_fd_pr__pfet_01v8_lvt sky130_fd_pr__pfet_01v8_hvt sky130_fd_pr__pfet_g5v0d10v5} full_metal 1 viasrc 100 viadrn 100 viagate 100 viagb 0 viagr 0 viagl 0 viagt 0

# cell sky130_fd_pr__pfet_g5v0d10v5_EHVYLG: kit device sky130_fd_pr__pfet_g5v0d10v5, w 8 l 1 m 1 nf 2 diffcov 100 polycov 100 guard 0 glc 1 grc 1 gtc 1 gbc 1 tbcov 100 rlcov 100 topc 0 botc 0 poverlap 0 doverlap 1 lmin 0.50 wmin 0.42 compatible {sky130_fd_pr__pfet_01v8 sky130_fd_pr__pfet_01v8_lvt sky130_fd_pr__pfet_01v8_hvt sky130_fd_pr__pfet_g5v0d10v5} full_metal 1 viasrc 100 viadrn 100 viagate 100 viagb 0 viagr 0 viagl 0 viagt 0

# cell sky130_fd_pr__pfet_g5v0d10v5_SVVZZ7: kit device sky130_fd_pr__pfet_g5v0d10v5, w 2 l 0.5 m 1 nf 1 diffcov 100 polycov 100 guard 0 glc 1 grc 1 gtc 1 gbc 1 tbcov 100 rlcov 100 topc 0 botc 0 poverlap 0 doverlap 1 lmin 0.50 wmin 0.42 compatible {sky130_fd_pr__pfet_01v8 sky130_fd_pr__pfet_01v8_lvt sky130_fd_pr__pfet_01v8_hvt sky130_fd_pr__pfet_g5v0d10v5} full_metal 1 viasrc 100 viadrn 100 viagate 100 viagb 0 viagr 0 viagl 0 viagt 0

# cell sky130_fd_pr__res_generic_nd__hv_CGSFZ8: kit device sky130_fd_pr__res_generic_nd__hv, w 0.48 l 2.1 m 1 nx 2 wmin 0.42 lmin 2.10 rho 120 val 1.32k dummy 0 dw 0.02 term 0.0 sterm 0.0 caplen 0.4 snake 1 guard 0 glc 1 grc 1 gtc 1 gbc 1 roverlap 0 endcov 100 full_metal 1 vias 1 viagb 0 viagt 0 viagl 0 viagr 0

# cell sky130_fd_pr__res_generic_nd__hv_FHMM3Y: kit device sky130_fd_pr__res_generic_nd__hv, w 0.42 l 4.0 m 1 nx 2 wmin 0.42 lmin 2.10 rho 120 val 2.64k dummy 0 dw 0.02 term 0.0 sterm 0.0 caplen 0.4 snake 1 guard 0 glc 1 grc 1 gtc 1 gbc 1 roverlap 0 endcov 100 full_metal 1 vias 1 viagb 0 viagt 0 viagl 0 viagr 0

# cell sky130_fd_pr__res_generic_nd__hv_FMMP3Y: kit device sky130_fd_pr__res_generic_nd__hv, w 0.42 l 4.0 m 1 nx 4 wmin 0.42 lmin 2.10 rho 120 val 5.52k dummy 0 dw 0.02 term 0.0 sterm 0.0 caplen 0.4 snake 1 guard 0 glc 1 grc 1 gtc 1 gbc 1 roverlap 0 endcov 100 full_metal 1 vias 1 viagb 0 viagt 0 viagl 0 viagr 0
